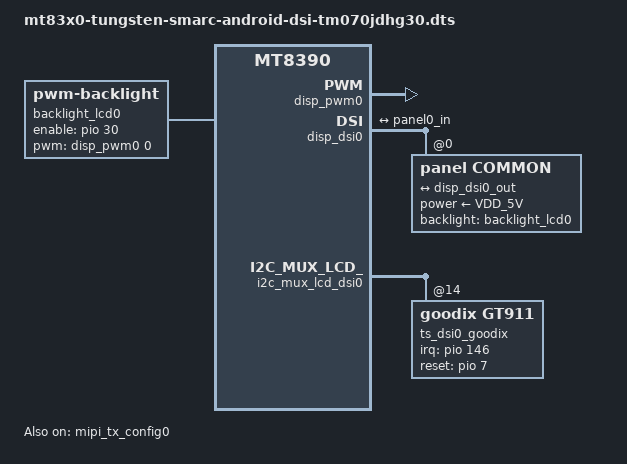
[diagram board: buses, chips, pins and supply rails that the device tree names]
// SPDX-License-Identifier: GPL-2.0
/*
 * Copyright (c) 2025 Ezurio LLC
 */

/dts-v1/;
/plugin/;

#include <dt-bindings/clock/mediatek,mt8188-clk.h>
#include <dt-bindings/gpio/gpio.h>
#include <dt-bindings/interrupt-controller/irq.h>
#include <dt-bindings/pinctrl/mediatek,mt8188-pinfunc.h>

#include "mt8390-genio-common-android.dtsi"

&{/} {
	backlight_lcd0: backlight-lcd0 {
		compatible = "pwm-backlight";
		pwms = <&disp_pwm0 0 30000>;
		enable-gpios = <&pio 30 GPIO_ACTIVE_HIGH>;
		brightness-levels = <0 1023>;
		num-interpolated-steps = <1023>;
		default-brightness-level = <768>;
	};
};

&disp_pwm0 {
	pinctrl-names = "default";
	pinctrl-0 = <&disp_pwm0_pin>;
	status = "okay";
};

&disp_dsi0 {
	#address-cells = <1>;
	#size-cells = <0>;
	poweron-in-hs-mode = <0>;
	status = "okay";

	panel: panel@0 {
		backlight = <&backlight_lcd0>;
		bits-per-color = <8>;
		bridge-de-active = <0>;
		bus-format = "rgb888";
		clocks = <&vdosys0 CLK_VDO0_DSI0_DSI>;
		clock-names = "mipi_clk";
		compatible = "panel,common";
		dsi-format = "rgb888";
		dsi-lanes = <4>;
		mode-skip-eot;
		mode-video;
		mode-video-burst;
		panel-height-mm = <136>;
		panel-width-mm = <217>;
		pinctrl-names = "sn65dsi83";
		pinctrl-0 = <&dsi0_sn65dsi83_pins>;
		power-supply = <&VDD_5V>;
		reg = <0>;
		sn65dsi83 = <&dsi0_to_lvds>;
		spwg;

		display-timings {
			mipi_t: t-dsi-default {
				clock-frequency = <71700000>;
				hactive = <1280>;
				vactive = <800>;
				hback-porch = <5>;
				hfront-porch = <151>;
				vback-porch = <2>;
				vfront-porch = <28>;
				hsync-len = <4>;
				vsync-len = <1>;
				hsync-active = <0>;
				vsync-active = <0>;
				de-active = <1>;
			};
		};

		dsi0_to_lvds: dsi0-to-lvds {
			alias = <&dsi0_to_lvds>;
			enable-gpios = <&pio 25 GPIO_ACTIVE_HIGH>;
			i2c-address = <0x2c>;
			i2c-bus = <&i2c_mux_lcd_dsi0>;
			interrupts-extended = <&pio 128 IRQ_TYPE_LEVEL_HIGH>;
		};

		port {
			panel0_in: endpoint {
				remote-endpoint = <&disp_dsi0_out>;
			};
		};
	};

	ports {
		port {
			disp_dsi0_out: endpoint {
				remote-endpoint = <&panel0_in>;
			};
		};
	};
};

&i2c_mux_lcd_dsi0 {
	#address-cells = <1>;
	#size-cells = <0>;

	ts_dsi0_goodix: touchscren@14 {
		compatible = "goodix,gt911";
		reg = <0x14>;
		pinctrl-names = "default";
		pinctrl-0 = <&ts_dsi0_goodix_pins>;
		interrupts-extended = <&pio 146 IRQ_TYPE_LEVEL_HIGH>;
		irq-gpios = <&pio 146 GPIO_ACTIVE_HIGH>;
		reset-gpios = <&pio 7 GPIO_ACTIVE_HIGH>;
	};
};

&mipi_tx_config0 {
	status = "okay";
};

&pio {
	disp_pwm0_pin: disp-pwm0-pin {
		pins1 {
			pinmux = <PINMUX_GPIO29__FUNC_O_DISP_PWM0>;
			bias-pull-down;
		};
	};

	dsi0_sn65dsi83_pins: dsi0-sn65dsi83-pins {
		pins-irq {
			pinmux = <PINMUX_GPIO128__FUNC_B_GPIO128>;
			bias-pull-down;
			input-enable;
		};

		pins-enable {
			pinmux = <PINMUX_GPIO25__FUNC_B_GPIO25>;
			bias-pull-down;
		};
	};

	ts_dsi0_goodix_pins: ts-dsi0-goodix-pins {
		pins-irq {
			pinmux = <PINMUX_GPIO146__FUNC_B_GPIO146>;
			bias-pull-up = <MTK_PUPD_SET_R1R0_01>;
			input-enable;
		};

		pins-reset {
			pinmux = <PINMUX_GPIO7__FUNC_B_GPIO7>;
			bias-pull-down;
		};
	};
};
